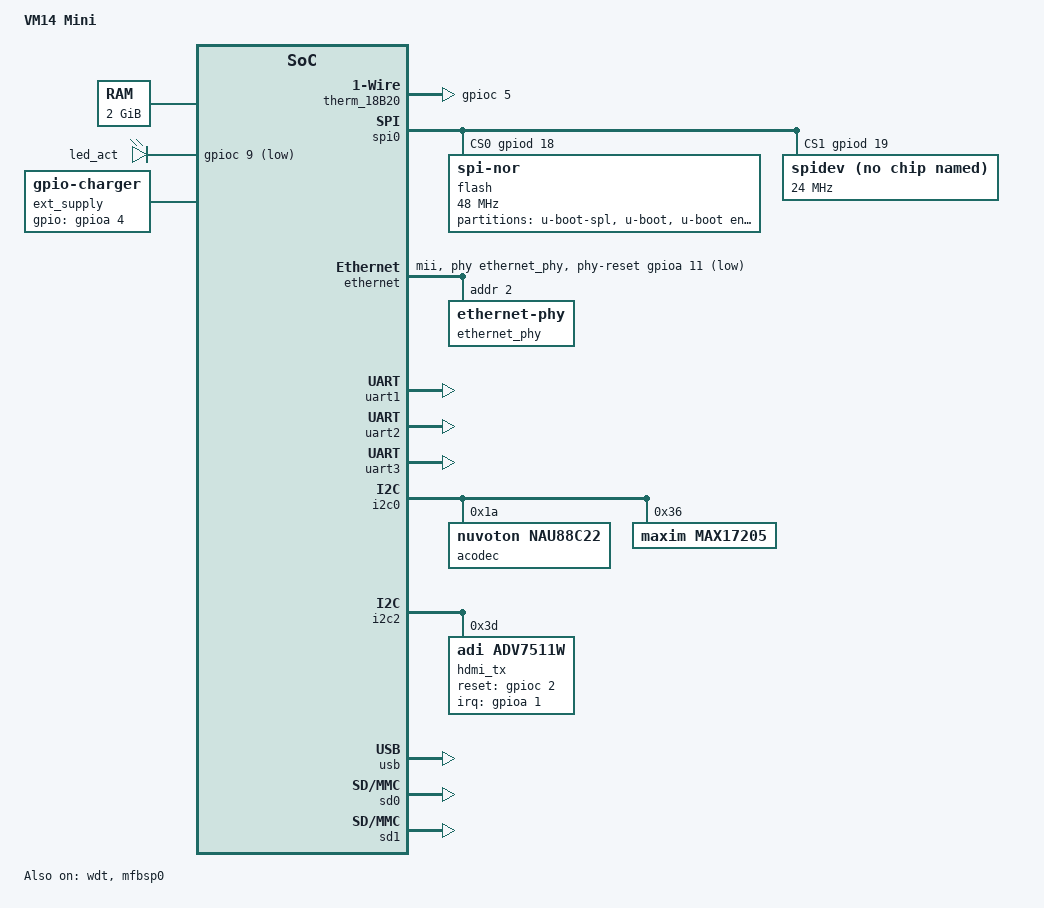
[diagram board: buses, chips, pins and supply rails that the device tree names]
/*
* Copyright 2015-2016 ELVEES NeoTek JSC
*
* This program is free software; you can redistribute it and/or modify
* it under the terms of the GNU General Public License version 2 as
* published by the Free Software Foundation.
*/

/dts-v1/;

#include <dt-bindings/interrupt-controller/irq.h>
#include <dt-bindings/gpio/gpio.h>

#include "vm-014-01-base.dtsi"

/ {
	model = "VM14 Mini";
	revision = "1.0";
	poweroff-gpio = <&gpioc 6 GPIO_ACTIVE_HIGH>;

	chosen {
		bootargs = "console=ttyS0,115200";
	};

	aliases {
		spi0 = &spi0;
		i2c0 = &i2c0;
		i2c1 = &i2c1;
		i2c2 = &i2c2;
        ethernet0 = &ethernet;
	};

	memory {
		device_type = "memory";
		reg = <0x40000000 0x40000000
		       0xa0000000 0x40000000>;
	};

	leds {
		compatible = "gpio-leds";

		led@1 {
			label = "led_act";
			gpios = <&gpioc 9 GPIO_ACTIVE_LOW>;
			linux,default-trigger = "heartbeat";
		};

	};

	xtican: xtican {
		compatible = "fixed-clock";
		#clock-cells = <0>;
		clock-frequency = <16000000>;
	};
    
    therm_18B20 {
        compatible = "w1-gpio";
        gpios = <&gpioc 5 GPIO_ACTIVE_LOW>;
    };
    
    mfbsp0: mfbsp@38086000 {
        #sound-dai-cells = <0>;
        compatible = "elvees,mfbsp-i2s";
        reg = <0x38086000 0x1000>,
                <0x38087000 0x000f>,
                <0x38087040 0x000f>;
        reg-names = "mfbsp",
                "dma-playback",
                "dma-capture";
        interrupts = <GIC_SPI 40 IRQ_TYPE_LEVEL_HIGH>,
                    <GIC_SPI 41 IRQ_TYPE_LEVEL_HIGH>;
        interrupt-names = "dma-playback",
                    "dma-capture";
        clocks = <&mfbsp0_aclk>;
        status = "okay";
    };

    sound {
        compatible = "simple-audio-card";
        simple-audio-card,name = "VM14 Com Express Analog Audio";
        simple-audio-card,format = "i2s";
        simple-audio-card,bitclock-master = <&dailink0_master>;
        simple-audio-card,frame-master = <&dailink0_master>;

        simple-audio-card,cpu {
            sound-dai = <&mfbsp0>;
        };

        dailink0_master: simple-audio-card,codec {
            sound-dai = <&acodec>;
            system-clock-frequency = <24000000>;
        };
    };
    
    ext_supply: charger {
		compatible = "gpio-charger";
		charger-type = "mains";
		gpios = <&gpioa 4 GPIO_ACTIVE_HIGH>;
	};
    
    /*hdmi-out {
		compatible = "hdmi-connector";
		type = "a";

		port {
			hdmi_con: endpoint {
				remote-endpoint = <&adv7511_out>;
			};
		};
	};*/
    
    /*hdmi_tx_panel: panel0 {
		compatible = "elvees,mcom02-vpout,panel";
		

		display-timings {
			800x480p60 {
				clock-frequency = <33300000>;
				hactive = <800>;
				vactive = <480>;
				hfront-porch = <85>;
				hback-porch = <85>;
				hsync-len = <86>;
				vfront-porch = <15>;
				vback-porch = <15>;
				vsync-len = <15>;
			};
		};

		port {
			hdmi_tx_in: endpoint {
				remote-endpoint = <&hdmi_tx_out>;
			};
		};
	};*/
};

&nor_sclk_div {
    clk-div-initial = <2>;
};

&spi0 {
	status = "okay";
	num-cs = <2>;
	/* Third argument of "cs-gpios" property is set to 0,
	 * because it is ignored by the SPI driver. */
	cs-gpios = <&gpiod 18 0>, <&gpiod 19 0>;
	spi-max-frequency = <144000000>;

	flash: flash@0 {
		#address-cells = <1>;
		#size-cells = <1>;
		compatible = "jedec,spi-nor", "spi-flash";
		reg = <0>;
		spi-max-frequency = <48000000>;
		u-boot,dm-pre-reloc;

		partition@0 {
			label = "u-boot-spl";
			reg = <0x0 0x10000>;
		};

		partition@1 {
			label = "u-boot";
			reg = <0x10000 0x80000>;
		};

		partition@2 {
			label = "u-boot env";
			reg = <0x90000 0x10000>;
		};/**/

		partition@3 {
			label = "kernel";
			reg = <0x100000 0x210000>;
		};

		partition@4 {
			label = "RootFS";
			reg = <0x310000 0xCF0000>;
		};
	};
	
	spidev@1 {
            spi-max-frequency = <24000000>;
            reg = <1>;
            compatible = "rohm,dh2228fv";
    };
};

&ethernet {
	#address-cells = <1>;
	#size-cells = <0>;
	status = "okay";
	phy-mode = "mii";
	phy-handle = <&ethernet_phy>;
	phy-reset-gpios = <&gpioa 11 GPIO_ACTIVE_LOW>;

	ethernet_phy: ethernet-phy@0 {
		reg = <2>;
        /*interrupt-parent = <&gpioa>;
        interrupts = <13 IRQ_TYPE_LEVEL_LOW>;*/
	};
};

&wdt {
    status = "okay";
};

&uart1 {
	status = "okay";
};


/*
 * RS-485 - 1
 */
&uart2 {
	status = "okay";
    rts-gpio = <&gpioa 31 GPIO_ACTIVE_LOW>;
    linux,rs485-enabled-at-boot-time;
    rs485-rts-active-high;
};

/*
 * RS-485 - 2
 */
&uart3 {
	status = "okay";
    rts-gpio = <&gpioc 1 GPIO_ACTIVE_LOW>;
    linux,rs485-enabled-at-boot-time;
    rs485-rts-active-high;
};

&i2c0 {
    status = "okay";
    acodec: nau88c22@1a {
        #sound-dai-cells = <0>;
        compatible = "nuvoton,nau88c22";
        clocks = <&xti24m>;
        reg = <0x1A>;
    };
    
    max17205@32 {
		compatible  = "maxim,max17205";
		reg         = <0x36>;
		rsense      = <10>;      /* miliOhm */
		talrt-min   = <(-40)>;     /* DegreeC */
		talrt-max   = <65>;      /* DegreeC */
		valrt-min   = <6000>;    /* mV */
		valrt-max   = <8400>;    /* mV */
		salrt-min   = <1>;       /* Percent */
		salrt-max   = <99>;      /* Percent */
		ialrt-min   = <(-7000)>; /* mA */
		ialrt-max   = <7000>;    /* mA */
		
		power-supplies = <&ext_supply>;
	};
};

&i2c2 {
    status = "okay";
    
    hdmi_tx: adv7511@7a {
        compatible = "adi,adv7511w";
        reset = <&gpioc 2 GPIO_ACTIVE_HIGH>;
        reset-gpios = <&gpioc 2 GPIO_ACTIVE_HIGH>;
        interrupt-parent = <&gpioa>;
        interrupts = <1 IRQ_TYPE_LEVEL_LOW>;
        reg = <0x3d>;
    };
};

&framebuffer {
    status = "okay";
    u-boot,dm-pre-reloc;
    output = <&hdmi_tx>;
};

&usb {
    status = "okay";
};

&sd0 {
    status = "okay";
};

&sd1 {
    status = "okay";
};


